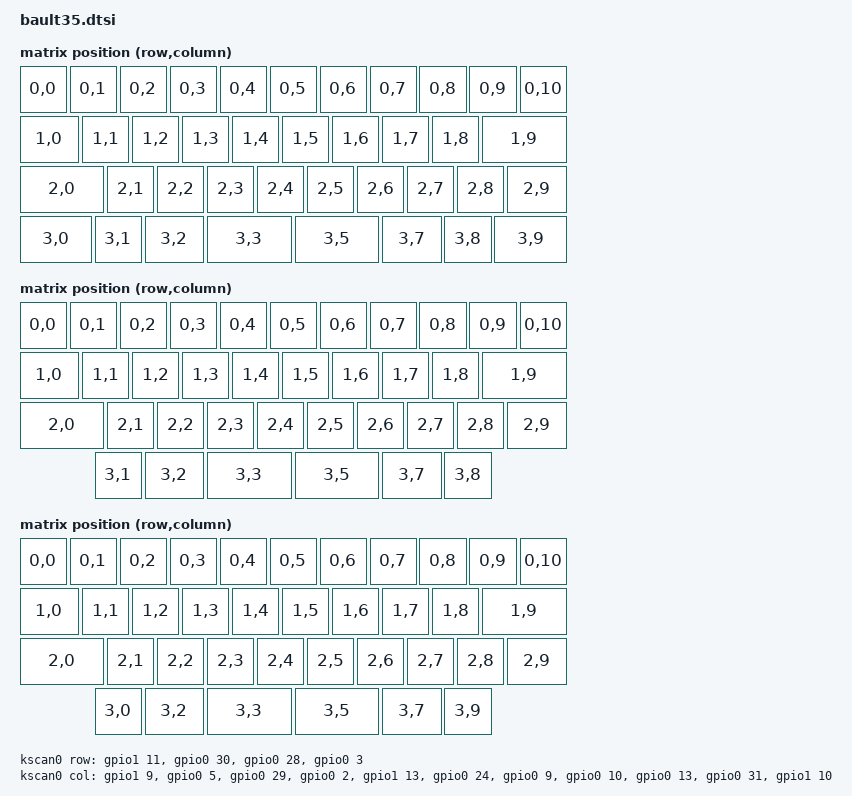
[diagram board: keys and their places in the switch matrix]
#include <dt-bindings/zmk/matrix_transform.h>
#include <physical_layouts.dtsi>

/ {
    chosen {
        zmk,physical-layout = &bault35_physical_layout;
    };
    
    bault35_physical_layout: bault35_physical_layout {
        compatible = "zmk,physical-layout";
        display-name = "Default";
        transform = <&default_transform>;
        kscan = <&kscan0>;
    
             keys  //                     w   h    x    y     rot   rx   ry
            = <&key_physical_attrs 100 100    0    0       0    0    0>
            , <&key_physical_attrs 100 100  100    0       0    0    0>
            , <&key_physical_attrs 100 100  200    0       0    0    0>
            , <&key_physical_attrs 100 100  300    0       0    0    0>
            , <&key_physical_attrs 100 100  400    0       0    0    0>
            , <&key_physical_attrs 100 100  500    0       0    0    0>
            , <&key_physical_attrs 100 100  600    0       0    0    0>
            , <&key_physical_attrs 100 100  700    0       0    0    0>
            , <&key_physical_attrs 100 100  800    0       0    0    0>
            , <&key_physical_attrs 100 100  900    0       0    0    0>
            , <&key_physical_attrs 100 100 1000    0       0    0    0>
            , <&key_physical_attrs 125 100    0  100       0    0    0>
            , <&key_physical_attrs 100 100  125  100       0    0    0>
            , <&key_physical_attrs 100 100  225  100       0    0    0>
            , <&key_physical_attrs 100 100  325  100       0    0    0>
            , <&key_physical_attrs 100 100  425  100       0    0    0>
            , <&key_physical_attrs 100 100  525  100       0    0    0>
            , <&key_physical_attrs 100 100  625  100       0    0    0>
            , <&key_physical_attrs 100 100  725  100       0    0    0>
            , <&key_physical_attrs 100 100  825  100       0    0    0>
            , <&key_physical_attrs 175 100  925  100       0    0    0>
            , <&key_physical_attrs 175 100    0  200       0    0    0>
            , <&key_physical_attrs 100 100  175  200       0    0    0>
            , <&key_physical_attrs 100 100  275  200       0    0    0>
            , <&key_physical_attrs 100 100  375  200       0    0    0>
            , <&key_physical_attrs 100 100  475  200       0    0    0>
            , <&key_physical_attrs 100 100  575  200       0    0    0>
            , <&key_physical_attrs 100 100  675  200       0    0    0>
            , <&key_physical_attrs 100 100  775  200       0    0    0>
            , <&key_physical_attrs 100 100  875  200       0    0    0>
            , <&key_physical_attrs 125 100  975  200       0    0    0>
            , <&key_physical_attrs 150 100    0  300       0    0    0>
            , <&key_physical_attrs 100 100  150  300       0    0    0>
            , <&key_physical_attrs 125 100  250  300       0    0    0>
            , <&key_physical_attrs 175 100  375  300       0    0    0>
            , <&key_physical_attrs 175 100  550  300       0    0    0>
            , <&key_physical_attrs 125 100  725  300       0    0    0>
            , <&key_physical_attrs 100 100  850  300       0    0    0>
            , <&key_physical_attrs 150 100  950  300       0    0    0>
            ;
    };

/*
    default_5key_layout: layout_1 {
        compatible = "zmk,physical-layout";
        display-name = "Default / 5-key split";

        transform = <&default_5key_transform>;

        keys  //                     w   h    x    y     rot   rx   ry
            = <&key_physical_attrs 100 100    0    0       0    0    0>
            , <&key_physical_attrs 100 100  100    0       0    0    0>
            , <&key_physical_attrs 100 100  200    0       0    0    0>
            , <&key_physical_attrs 100 100  300    0       0    0    0>
            , <&key_physical_attrs 100 100  400    0       0    0    0>
            , <&key_physical_attrs 100 100  500    0       0    0    0>
            , <&key_physical_attrs 100 100  600    0       0    0    0>
            , <&key_physical_attrs 100 100  700    0       0    0    0>
            , <&key_physical_attrs 100 100  800    0       0    0    0>
            , <&key_physical_attrs 100 100  900    0       0    0    0>
            , <&key_physical_attrs 100 100 1000    0       0    0    0>
            , <&key_physical_attrs 125 100    0  100       0    0    0>
            , <&key_physical_attrs 100 100  125  100       0    0    0>
            , <&key_physical_attrs 100 100  225  100       0    0    0>
            , <&key_physical_attrs 100 100  325  100       0    0    0>
            , <&key_physical_attrs 100 100  425  100       0    0    0>
            , <&key_physical_attrs 100 100  525  100       0    0    0>
            , <&key_physical_attrs 100 100  625  100       0    0    0>
            , <&key_physical_attrs 100 100  725  100       0    0    0>
            , <&key_physical_attrs 100 100  825  100       0    0    0>
            , <&key_physical_attrs 175 100  925  100       0    0    0>
            , <&key_physical_attrs 175 100    0  200       0    0    0>
            , <&key_physical_attrs 100 100  175  200       0    0    0>
            , <&key_physical_attrs 100 100  275  200       0    0    0>
            , <&key_physical_attrs 100 100  375  200       0    0    0>
            , <&key_physical_attrs 100 100  475  200       0    0    0>
            , <&key_physical_attrs 100 100  575  200       0    0    0>
            , <&key_physical_attrs 100 100  675  200       0    0    0>
            , <&key_physical_attrs 100 100  775  200       0    0    0>
            , <&key_physical_attrs 100 100  875  200       0    0    0>
            , <&key_physical_attrs 125 100  975  200       0    0    0>
            , <&key_physical_attrs 150 100    0  300       0    0    0>
            , <&key_physical_attrs 125 100  150  300       0    0    0>
            , <&key_physical_attrs 125 100  275  300       0    0    0>
            , <&key_physical_attrs 300 100  400  300       0    0    0>
            , <&key_physical_attrs 125 100  700  300       0    0    0>
            , <&key_physical_attrs 125 100  825  300       0    0    0>
            , <&key_physical_attrs 150 100  950  300       0    0    0>
            ;
    };

    default_4key_layout: layout_2 {
        compatible = "zmk,physical-layout";
        display-name = "Default / 4-key split";

        transform = <&default_4key_transform>;


        keys  //                     w   h    x    y     rot   rx   ry
            = <&key_physical_attrs 100 100    0    0       0    0    0>
            , <&key_physical_attrs 100 100  100    0       0    0    0>
            , <&key_physical_attrs 100 100  200    0       0    0    0>
            , <&key_physical_attrs 100 100  300    0       0    0    0>
            , <&key_physical_attrs 100 100  400    0       0    0    0>
            , <&key_physical_attrs 100 100  500    0       0    0    0>
            , <&key_physical_attrs 100 100  600    0       0    0    0>
            , <&key_physical_attrs 100 100  700    0       0    0    0>
            , <&key_physical_attrs 100 100  800    0       0    0    0>
            , <&key_physical_attrs 100 100  900    0       0    0    0>
            , <&key_physical_attrs 100 100 1000    0       0    0    0>
            , <&key_physical_attrs 125 100    0  100       0    0    0>
            , <&key_physical_attrs 100 100  125  100       0    0    0>
            , <&key_physical_attrs 100 100  225  100       0    0    0>
            , <&key_physical_attrs 100 100  325  100       0    0    0>
            , <&key_physical_attrs 100 100  425  100       0    0    0>
            , <&key_physical_attrs 100 100  525  100       0    0    0>
            , <&key_physical_attrs 100 100  625  100       0    0    0>
            , <&key_physical_attrs 100 100  725  100       0    0    0>
            , <&key_physical_attrs 100 100  825  100       0    0    0>
            , <&key_physical_attrs 175 100  925  100       0    0    0>
            , <&key_physical_attrs 175 100    0  200       0    0    0>
            , <&key_physical_attrs 100 100  175  200       0    0    0>
            , <&key_physical_attrs 100 100  275  200       0    0    0>
            , <&key_physical_attrs 100 100  375  200       0    0    0>
            , <&key_physical_attrs 100 100  475  200       0    0    0>
            , <&key_physical_attrs 100 100  575  200       0    0    0>
            , <&key_physical_attrs 100 100  675  200       0    0    0>
            , <&key_physical_attrs 100 100  775  200       0    0    0>
            , <&key_physical_attrs 100 100  875  200       0    0    0>
            , <&key_physical_attrs 125 100  975  200       0    0    0>
            , <&key_physical_attrs 150 100    0  300       0    0    0>
            , <&key_physical_attrs 100 100  150  300       0    0    0>
            , <&key_physical_attrs 300 100  250  300       0    0    0>
            , <&key_physical_attrs 300 100  550  300       0    0    0>
            , <&key_physical_attrs 100 100  850  300       0    0    0>
            , <&key_physical_attrs 150 100  950  300       0    0    0>
            ;
    };

    default_bigbar_layout: layout_3 {
        compatible = "zmk,physical-layout";
        display-name = "Default / Big Bar";

        transform = <&default_bigbar_transform>;

        keys  //                     w   h    x    y     rot   rx   ry
            = <&key_physical_attrs 100 100    0    0       0    0    0>
            , <&key_physical_attrs 100 100  100    0       0    0    0>
            , <&key_physical_attrs 100 100  200    0       0    0    0>
            , <&key_physical_attrs 100 100  300    0       0    0    0>
            , <&key_physical_attrs 100 100  400    0       0    0    0>
            , <&key_physical_attrs 100 100  500    0       0    0    0>
            , <&key_physical_attrs 100 100  600    0       0    0    0>
            , <&key_physical_attrs 100 100  700    0       0    0    0>
            , <&key_physical_attrs 100 100  800    0       0    0    0>
            , <&key_physical_attrs 100 100  900    0       0    0    0>
            , <&key_physical_attrs 100 100 1000    0       0    0    0>
            , <&key_physical_attrs 125 100    0  100       0    0    0>
            , <&key_physical_attrs 100 100  125  100       0    0    0>
            , <&key_physical_attrs 100 100  225  100       0    0    0>
            , <&key_physical_attrs 100 100  325  100       0    0    0>
            , <&key_physical_attrs 100 100  425  100       0    0    0>
            , <&key_physical_attrs 100 100  525  100       0    0    0>
            , <&key_physical_attrs 100 100  625  100       0    0    0>
            , <&key_physical_attrs 100 100  725  100       0    0    0>
            , <&key_physical_attrs 100 100  825  100       0    0    0>
            , <&key_physical_attrs 175 100  925  100       0    0    0>
            , <&key_physical_attrs 175 100    0  200       0    0    0>
            , <&key_physical_attrs 100 100  175  200       0    0    0>
            , <&key_physical_attrs 100 100  275  200       0    0    0>
            , <&key_physical_attrs 100 100  375  200       0    0    0>
            , <&key_physical_attrs 100 100  475  200       0    0    0>
            , <&key_physical_attrs 100 100  575  200       0    0    0>
            , <&key_physical_attrs 100 100  675  200       0    0    0>
            , <&key_physical_attrs 100 100  775  200       0    0    0>
            , <&key_physical_attrs 100 100  875  200       0    0    0>
            , <&key_physical_attrs 125 100  975  200       0    0    0>
            , <&key_physical_attrs 150 100    0  300       0    0    0>
            , <&key_physical_attrs 100 100  150  300       0    0    0>
            , <&key_physical_attrs 600 100  250  300       0    0    0>
            , <&key_physical_attrs 100 100  850  300       0    0    0>
            , <&key_physical_attrs 150 100  950  300       0    0    0>
            ;
    };
*/

    hhkb_layout: layout_4 {
        compatible = "zmk,physical-layout";
        display-name = "HHKB";

        transform = <&hhkb_transform>;

        keys  //                     w   h    x    y     rot   rx   ry
            = <&key_physical_attrs 100 100    0    0       0    0    0>
            , <&key_physical_attrs 100 100  100    0       0    0    0>
            , <&key_physical_attrs 100 100  200    0       0    0    0>
            , <&key_physical_attrs 100 100  300    0       0    0    0>
            , <&key_physical_attrs 100 100  400    0       0    0    0>
            , <&key_physical_attrs 100 100  500    0       0    0    0>
            , <&key_physical_attrs 100 100  600    0       0    0    0>
            , <&key_physical_attrs 100 100  700    0       0    0    0>
            , <&key_physical_attrs 100 100  800    0       0    0    0>
            , <&key_physical_attrs 100 100  900    0       0    0    0>
            , <&key_physical_attrs 100 100 1000    0       0    0    0>
            , <&key_physical_attrs 125 100    0  100       0    0    0>
            , <&key_physical_attrs 100 100  125  100       0    0    0>
            , <&key_physical_attrs 100 100  225  100       0    0    0>
            , <&key_physical_attrs 100 100  325  100       0    0    0>
            , <&key_physical_attrs 100 100  425  100       0    0    0>
            , <&key_physical_attrs 100 100  525  100       0    0    0>
            , <&key_physical_attrs 100 100  625  100       0    0    0>
            , <&key_physical_attrs 100 100  725  100       0    0    0>
            , <&key_physical_attrs 100 100  825  100       0    0    0>
            , <&key_physical_attrs 175 100  925  100       0    0    0>
            , <&key_physical_attrs 175 100    0  200       0    0    0>
            , <&key_physical_attrs 100 100  175  200       0    0    0>
            , <&key_physical_attrs 100 100  275  200       0    0    0>
            , <&key_physical_attrs 100 100  375  200       0    0    0>
            , <&key_physical_attrs 100 100  475  200       0    0    0>
            , <&key_physical_attrs 100 100  575  200       0    0    0>
            , <&key_physical_attrs 100 100  675  200       0    0    0>
            , <&key_physical_attrs 100 100  775  200       0    0    0>
            , <&key_physical_attrs 100 100  875  200       0    0    0>
            , <&key_physical_attrs 125 100  975  200       0    0    0>
            , <&key_physical_attrs 100 100  150  300       0    0    0>
            , <&key_physical_attrs 125 100  250  300       0    0    0>
            , <&key_physical_attrs 175 100  375  300       0    0    0>
            , <&key_physical_attrs 175 100  550  300       0    0    0>
            , <&key_physical_attrs 125 100  725  300       0    0    0>
            , <&key_physical_attrs 100 100  850  300       0    0    0>
            ;
    };

/*
    hhkb_5key_layout: layout_5 {
        compatible = "zmk,physical-layout";
        display-name = "HHKB / 5-key split";

        transform = <&hhkb_5key_transform>;

        keys  //                     w   h    x    y     rot   rx   ry
            = <&key_physical_attrs 100 100    0    0       0    0    0>
            , <&key_physical_attrs 100 100  100    0       0    0    0>
            , <&key_physical_attrs 100 100  200    0       0    0    0>
            , <&key_physical_attrs 100 100  300    0       0    0    0>
            , <&key_physical_attrs 100 100  400    0       0    0    0>
            , <&key_physical_attrs 100 100  500    0       0    0    0>
            , <&key_physical_attrs 100 100  600    0       0    0    0>
            , <&key_physical_attrs 100 100  700    0       0    0    0>
            , <&key_physical_attrs 100 100  800    0       0    0    0>
            , <&key_physical_attrs 100 100  900    0       0    0    0>
            , <&key_physical_attrs 100 100 1000    0       0    0    0>
            , <&key_physical_attrs 125 100    0  100       0    0    0>
            , <&key_physical_attrs 100 100  125  100       0    0    0>
            , <&key_physical_attrs 100 100  225  100       0    0    0>
            , <&key_physical_attrs 100 100  325  100       0    0    0>
            , <&key_physical_attrs 100 100  425  100       0    0    0>
            , <&key_physical_attrs 100 100  525  100       0    0    0>
            , <&key_physical_attrs 100 100  625  100       0    0    0>
            , <&key_physical_attrs 100 100  725  100       0    0    0>
            , <&key_physical_attrs 100 100  825  100       0    0    0>
            , <&key_physical_attrs 175 100  925  100       0    0    0>
            , <&key_physical_attrs 175 100    0  200       0    0    0>
            , <&key_physical_attrs 100 100  175  200       0    0    0>
            , <&key_physical_attrs 100 100  275  200       0    0    0>
            , <&key_physical_attrs 100 100  375  200       0    0    0>
            , <&key_physical_attrs 100 100  475  200       0    0    0>
            , <&key_physical_attrs 100 100  575  200       0    0    0>
            , <&key_physical_attrs 100 100  675  200       0    0    0>
            , <&key_physical_attrs 100 100  775  200       0    0    0>
            , <&key_physical_attrs 100 100  875  200       0    0    0>
            , <&key_physical_attrs 125 100  975  200       0    0    0>
            , <&key_physical_attrs 125 100  150  300       0    0    0>
            , <&key_physical_attrs 125 100  275  300       0    0    0>
            , <&key_physical_attrs 300 100  400  300       0    0    0>
            , <&key_physical_attrs 125 100  700  300       0    0    0>
            , <&key_physical_attrs 125 100  825  300       0    0    0>
            ;
    };

    hhkb_4key_layout: layout_6 {
        compatible = "zmk,physical-layout";
        display-name = "HHKB / 4-key split";

        transform = <&hhkb_4key_transform>;

        keys  //                     w   h    x    y     rot   rx   ry
            = <&key_physical_attrs 100 100    0    0       0    0    0>
            , <&key_physical_attrs 100 100  100    0       0    0    0>
            , <&key_physical_attrs 100 100  200    0       0    0    0>
            , <&key_physical_attrs 100 100  300    0       0    0    0>
            , <&key_physical_attrs 100 100  400    0       0    0    0>
            , <&key_physical_attrs 100 100  500    0       0    0    0>
            , <&key_physical_attrs 100 100  600    0       0    0    0>
            , <&key_physical_attrs 100 100  700    0       0    0    0>
            , <&key_physical_attrs 100 100  800    0       0    0    0>
            , <&key_physical_attrs 100 100  900    0       0    0    0>
            , <&key_physical_attrs 100 100 1000    0       0    0    0>
            , <&key_physical_attrs 125 100    0  100       0    0    0>
            , <&key_physical_attrs 100 100  125  100       0    0    0>
            , <&key_physical_attrs 100 100  225  100       0    0    0>
            , <&key_physical_attrs 100 100  325  100       0    0    0>
            , <&key_physical_attrs 100 100  425  100       0    0    0>
            , <&key_physical_attrs 100 100  525  100       0    0    0>
            , <&key_physical_attrs 100 100  625  100       0    0    0>
            , <&key_physical_attrs 100 100  725  100       0    0    0>
            , <&key_physical_attrs 100 100  825  100       0    0    0>
            , <&key_physical_attrs 175 100  925  100       0    0    0>
            , <&key_physical_attrs 175 100    0  200       0    0    0>
            , <&key_physical_attrs 100 100  175  200       0    0    0>
            , <&key_physical_attrs 100 100  275  200       0    0    0>
            , <&key_physical_attrs 100 100  375  200       0    0    0>
            , <&key_physical_attrs 100 100  475  200       0    0    0>
            , <&key_physical_attrs 100 100  575  200       0    0    0>
            , <&key_physical_attrs 100 100  675  200       0    0    0>
            , <&key_physical_attrs 100 100  775  200       0    0    0>
            , <&key_physical_attrs 100 100  875  200       0    0    0>
            , <&key_physical_attrs 125 100  975  200       0    0    0>
            , <&key_physical_attrs 100 100  150  300       0    0    0>
            , <&key_physical_attrs 300 100  250  300       0    0    0>
            , <&key_physical_attrs 300 100  550  300       0    0    0>
            , <&key_physical_attrs 100 100  850  300       0    0    0>
            ;
    };

    hhkb_bigbar_layout: layout_7 {
        compatible = "zmk,physical-layout";
        display-name = "HHKB / Big Bar";

        transform = <&hhkb_bigbar_transform>;

        keys  //                     w   h    x    y     rot   rx   ry
            = <&key_physical_attrs 100 100    0    0       0    0    0>
            , <&key_physical_attrs 100 100  100    0       0    0    0>
            , <&key_physical_attrs 100 100  200    0       0    0    0>
            , <&key_physical_attrs 100 100  300    0       0    0    0>
            , <&key_physical_attrs 100 100  400    0       0    0    0>
            , <&key_physical_attrs 100 100  500    0       0    0    0>
            , <&key_physical_attrs 100 100  600    0       0    0    0>
            , <&key_physical_attrs 100 100  700    0       0    0    0>
            , <&key_physical_attrs 100 100  800    0       0    0    0>
            , <&key_physical_attrs 100 100  900    0       0    0    0>
            , <&key_physical_attrs 100 100 1000    0       0    0    0>
            , <&key_physical_attrs 125 100    0  100       0    0    0>
            , <&key_physical_attrs 100 100  125  100       0    0    0>
            , <&key_physical_attrs 100 100  225  100       0    0    0>
            , <&key_physical_attrs 100 100  325  100       0    0    0>
            , <&key_physical_attrs 100 100  425  100       0    0    0>
            , <&key_physical_attrs 100 100  525  100       0    0    0>
            , <&key_physical_attrs 100 100  625  100       0    0    0>
            , <&key_physical_attrs 100 100  725  100       0    0    0>
            , <&key_physical_attrs 100 100  825  100       0    0    0>
            , <&key_physical_attrs 175 100  925  100       0    0    0>
            , <&key_physical_attrs 175 100    0  200       0    0    0>
            , <&key_physical_attrs 100 100  175  200       0    0    0>
            , <&key_physical_attrs 100 100  275  200       0    0    0>
            , <&key_physical_attrs 100 100  375  200       0    0    0>
            , <&key_physical_attrs 100 100  475  200       0    0    0>
            , <&key_physical_attrs 100 100  575  200       0    0    0>
            , <&key_physical_attrs 100 100  675  200       0    0    0>
            , <&key_physical_attrs 100 100  775  200       0    0    0>
            , <&key_physical_attrs 100 100  875  200       0    0    0>
            , <&key_physical_attrs 125 100  975  200       0    0    0>
            , <&key_physical_attrs 100 100  150  300       0    0    0>
            , <&key_physical_attrs 600 100  250  300       0    0    0>
            , <&key_physical_attrs 100 100  850  300       0    0    0>
            ;
    };
*/

    wkl_layout: layout_8 {
        compatible = "zmk,physical-layout";
        display-name = "WKL";

        transform = <&wkl_transform>;

        keys  //                     w   h    x    y     rot   rx   ry
            = <&key_physical_attrs 100 100    0    0       0    0    0>
            , <&key_physical_attrs 100 100  100    0       0    0    0>
            , <&key_physical_attrs 100 100  200    0       0    0    0>
            , <&key_physical_attrs 100 100  300    0       0    0    0>
            , <&key_physical_attrs 100 100  400    0       0    0    0>
            , <&key_physical_attrs 100 100  500    0       0    0    0>
            , <&key_physical_attrs 100 100  600    0       0    0    0>
            , <&key_physical_attrs 100 100  700    0       0    0    0>
            , <&key_physical_attrs 100 100  800    0       0    0    0>
            , <&key_physical_attrs 100 100  900    0       0    0    0>
            , <&key_physical_attrs 100 100 1000    0       0    0    0>
            , <&key_physical_attrs 125 100    0  100       0    0    0>
            , <&key_physical_attrs 100 100  125  100       0    0    0>
            , <&key_physical_attrs 100 100  225  100       0    0    0>
            , <&key_physical_attrs 100 100  325  100       0    0    0>
            , <&key_physical_attrs 100 100  425  100       0    0    0>
            , <&key_physical_attrs 100 100  525  100       0    0    0>
            , <&key_physical_attrs 100 100  625  100       0    0    0>
            , <&key_physical_attrs 100 100  725  100       0    0    0>
            , <&key_physical_attrs 100 100  825  100       0    0    0>
            , <&key_physical_attrs 175 100  925  100       0    0    0>
            , <&key_physical_attrs 175 100    0  200       0    0    0>
            , <&key_physical_attrs 100 100  175  200       0    0    0>
            , <&key_physical_attrs 100 100  275  200       0    0    0>
            , <&key_physical_attrs 100 100  375  200       0    0    0>
            , <&key_physical_attrs 100 100  475  200       0    0    0>
            , <&key_physical_attrs 100 100  575  200       0    0    0>
            , <&key_physical_attrs 100 100  675  200       0    0    0>
            , <&key_physical_attrs 100 100  775  200       0    0    0>
            , <&key_physical_attrs 100 100  875  200       0    0    0>
            , <&key_physical_attrs 125 100  975  200       0    0    0>
            , <&key_physical_attrs 150 100    0  300       0    0    0>
            , <&key_physical_attrs 125 100  250  300       0    0    0>
            , <&key_physical_attrs 175 100  375  300       0    0    0>
            , <&key_physical_attrs 175 100  550  300       0    0    0>
            , <&key_physical_attrs 125 100  725  300       0    0    0>
            , <&key_physical_attrs 150 100  950  300       0    0    0>
            ;
    };

/*
    wkl_3key_layout: layout_9 {
        compatible = "zmk,physical-layout";
        display-name = "WKL / 3-key split";

        transform = <&wkl_3key_transform>;

        keys  //                     w   h    x    y     rot   rx   ry
            = <&key_physical_attrs 100 100    0    0       0    0    0>
            , <&key_physical_attrs 100 100  100    0       0    0    0>
            , <&key_physical_attrs 100 100  200    0       0    0    0>
            , <&key_physical_attrs 100 100  300    0       0    0    0>
            , <&key_physical_attrs 100 100  400    0       0    0    0>
            , <&key_physical_attrs 100 100  500    0       0    0    0>
            , <&key_physical_attrs 100 100  600    0       0    0    0>
            , <&key_physical_attrs 100 100  700    0       0    0    0>
            , <&key_physical_attrs 100 100  800    0       0    0    0>
            , <&key_physical_attrs 100 100  900    0       0    0    0>
            , <&key_physical_attrs 100 100 1000    0       0    0    0>
            , <&key_physical_attrs 125 100    0  100       0    0    0>
            , <&key_physical_attrs 100 100  125  100       0    0    0>
            , <&key_physical_attrs 100 100  225  100       0    0    0>
            , <&key_physical_attrs 100 100  325  100       0    0    0>
            , <&key_physical_attrs 100 100  425  100       0    0    0>
            , <&key_physical_attrs 100 100  525  100       0    0    0>
            , <&key_physical_attrs 100 100  625  100       0    0    0>
            , <&key_physical_attrs 100 100  725  100       0    0    0>
            , <&key_physical_attrs 100 100  825  100       0    0    0>
            , <&key_physical_attrs 175 100  925  100       0    0    0>
            , <&key_physical_attrs 175 100    0  200       0    0    0>
            , <&key_physical_attrs 100 100  175  200       0    0    0>
            , <&key_physical_attrs 100 100  275  200       0    0    0>
            , <&key_physical_attrs 100 100  375  200       0    0    0>
            , <&key_physical_attrs 100 100  475  200       0    0    0>
            , <&key_physical_attrs 100 100  575  200       0    0    0>
            , <&key_physical_attrs 100 100  675  200       0    0    0>
            , <&key_physical_attrs 100 100  775  200       0    0    0>
            , <&key_physical_attrs 100 100  875  200       0    0    0>
            , <&key_physical_attrs 125 100  975  200       0    0    0>
            , <&key_physical_attrs 150 100    0  300       0    0    0>
            , <&key_physical_attrs 150 100  250  300       0    0    0>
            , <&key_physical_attrs 300 100  400  300       0    0    0>
            , <&key_physical_attrs 150 100  700  300       0    0    0>
            , <&key_physical_attrs 150 100  950  300       0    0    0>
            ;
    };

    wkl_2key_layout: layout_10 {
        compatible = "zmk,physical-layout";
        display-name = "WKL / 2-key split";

        transform = <&wkl_2key_transform>;

        keys  //                     w   h    x    y     rot   rx   ry
            = <&key_physical_attrs 100 100    0    0       0    0    0>
            , <&key_physical_attrs 100 100  100    0       0    0    0>
            , <&key_physical_attrs 100 100  200    0       0    0    0>
            , <&key_physical_attrs 100 100  300    0       0    0    0>
            , <&key_physical_attrs 100 100  400    0       0    0    0>
            , <&key_physical_attrs 100 100  500    0       0    0    0>
            , <&key_physical_attrs 100 100  600    0       0    0    0>
            , <&key_physical_attrs 100 100  700    0       0    0    0>
            , <&key_physical_attrs 100 100  800    0       0    0    0>
            , <&key_physical_attrs 100 100  900    0       0    0    0>
            , <&key_physical_attrs 100 100 1000    0       0    0    0>
            , <&key_physical_attrs 125 100    0  100       0    0    0>
            , <&key_physical_attrs 100 100  125  100       0    0    0>
            , <&key_physical_attrs 100 100  225  100       0    0    0>
            , <&key_physical_attrs 100 100  325  100       0    0    0>
            , <&key_physical_attrs 100 100  425  100       0    0    0>
            , <&key_physical_attrs 100 100  525  100       0    0    0>
            , <&key_physical_attrs 100 100  625  100       0    0    0>
            , <&key_physical_attrs 100 100  725  100       0    0    0>
            , <&key_physical_attrs 100 100  825  100       0    0    0>
            , <&key_physical_attrs 175 100  925  100       0    0    0>
            , <&key_physical_attrs 175 100    0  200       0    0    0>
            , <&key_physical_attrs 100 100  175  200       0    0    0>
            , <&key_physical_attrs 100 100  275  200       0    0    0>
            , <&key_physical_attrs 100 100  375  200       0    0    0>
            , <&key_physical_attrs 100 100  475  200       0    0    0>
            , <&key_physical_attrs 100 100  575  200       0    0    0>
            , <&key_physical_attrs 100 100  675  200       0    0    0>
            , <&key_physical_attrs 100 100  775  200       0    0    0>
            , <&key_physical_attrs 100 100  875  200       0    0    0>
            , <&key_physical_attrs 125 100  975  200       0    0    0>
            , <&key_physical_attrs 150 100    0  300       0    0    0>
            , <&key_physical_attrs 300 100  250  300       0    0    0>
            , <&key_physical_attrs 300 100  550  300       0    0    0>
            , <&key_physical_attrs 150 100  950  300       0    0    0>
            ;
    };

    wkl_bigbar_layout: layout_11 {
        compatible = "zmk,physical-layout";
        display-name = "WKL / Big Bar";

        transform = <&wkl_bigbar_transform>;

        keys  //                     w   h    x    y     rot   rx   ry
            = <&key_physical_attrs 100 100    0    0       0    0    0>
            , <&key_physical_attrs 100 100  100    0       0    0    0>
            , <&key_physical_attrs 100 100  200    0       0    0    0>
            , <&key_physical_attrs 100 100  300    0       0    0    0>
            , <&key_physical_attrs 100 100  400    0       0    0    0>
            , <&key_physical_attrs 100 100  500    0       0    0    0>
            , <&key_physical_attrs 100 100  600    0       0    0    0>
            , <&key_physical_attrs 100 100  700    0       0    0    0>
            , <&key_physical_attrs 100 100  800    0       0    0    0>
            , <&key_physical_attrs 100 100  900    0       0    0    0>
            , <&key_physical_attrs 100 100 1000    0       0    0    0>
            , <&key_physical_attrs 125 100    0  100       0    0    0>
            , <&key_physical_attrs 100 100  125  100       0    0    0>
            , <&key_physical_attrs 100 100  225  100       0    0    0>
            , <&key_physical_attrs 100 100  325  100       0    0    0>
            , <&key_physical_attrs 100 100  425  100       0    0    0>
            , <&key_physical_attrs 100 100  525  100       0    0    0>
            , <&key_physical_attrs 100 100  625  100       0    0    0>
            , <&key_physical_attrs 100 100  725  100       0    0    0>
            , <&key_physical_attrs 100 100  825  100       0    0    0>
            , <&key_physical_attrs 175 100  925  100       0    0    0>
            , <&key_physical_attrs 175 100    0  200       0    0    0>
            , <&key_physical_attrs 100 100  175  200       0    0    0>
            , <&key_physical_attrs 100 100  275  200       0    0    0>
            , <&key_physical_attrs 100 100  375  200       0    0    0>
            , <&key_physical_attrs 100 100  475  200       0    0    0>
            , <&key_physical_attrs 100 100  575  200       0    0    0>
            , <&key_physical_attrs 100 100  675  200       0    0    0>
            , <&key_physical_attrs 100 100  775  200       0    0    0>
            , <&key_physical_attrs 100 100  875  200       0    0    0>
            , <&key_physical_attrs 125 100  975  200       0    0    0>
            , <&key_physical_attrs 150 100    0  300       0    0    0>
            , <&key_physical_attrs 600 100  250  300       0    0    0>
            , <&key_physical_attrs 150 100  950  300       0    0    0>
            ;
    };
*/
};

/ {
    default_transform: keymap_transform_0 {
        compatible = "zmk,matrix-transform";
        columns = <11>;
        rows = <4>;
        map = <
            RC(0,0) RC(0,1) RC(0,2) RC(0,3) RC(0,4) RC(0,5) RC(0,6) RC(0,7) RC(0,8) RC(0,9) RC(0,10)
            RC(1,0) RC(1,1) RC(1,2) RC(1,3) RC(1,4) RC(1,5) RC(1,6) RC(1,7) RC(1,8) RC(1,9)
            RC(2,0) RC(2,1) RC(2,2) RC(2,3) RC(2,4) RC(2,5) RC(2,6) RC(2,7) RC(2,8) RC(2,9)
            RC(3,0) RC(3,1) RC(3,2) RC(3,3)         RC(3,5)         RC(3,7) RC(3,8) RC(3,9)
            >;
    };

    hhkb_transform: keymap_transform_4 {
        compatible = "zmk,matrix-transform";
        columns = <11>;
        rows = <4>;
        map = <
            RC(0,0) RC(0,1) RC(0,2) RC(0,3) RC(0,4) RC(0,5) RC(0,6) RC(0,7) RC(0,8) RC(0,9) RC(0,10)
            RC(1,0) RC(1,1) RC(1,2) RC(1,3) RC(1,4) RC(1,5) RC(1,6) RC(1,7) RC(1,8) RC(1,9)
            RC(2,0) RC(2,1) RC(2,2) RC(2,3) RC(2,4) RC(2,5) RC(2,6) RC(2,7) RC(2,8) RC(2,9)
                    RC(3,1) RC(3,2) RC(3,3)         RC(3,5)         RC(3,7) RC(3,8)
            >;
    };

    wkl_transform: keymap_transform_8 {
        compatible = "zmk,matrix-transform";
        columns = <11>;
        rows = <4>;
        map = <
            RC(0,0) RC(0,1) RC(0,2) RC(0,3) RC(0,4) RC(0,5) RC(0,6) RC(0,7) RC(0,8) RC(0,9) RC(0,10)
            RC(1,0) RC(1,1) RC(1,2) RC(1,3) RC(1,4) RC(1,5) RC(1,6) RC(1,7) RC(1,8) RC(1,9)
            RC(2,0) RC(2,1) RC(2,2) RC(2,3) RC(2,4) RC(2,5) RC(2,6) RC(2,7) RC(2,8) RC(2,9)
            RC(3,0)         RC(3,2) RC(3,3)         RC(3,5)         RC(3,7)         RC(3,9)
            >;
    };
};
    kscan0: kscan {
        compatible = "zmk,kscan-gpio-matrix";
        diode-direction = "col2row";
        wakeup-source;

        row-gpios
            = <&gpio1 11 (GPIO_ACTIVE_HIGH | GPIO_PULL_DOWN)>
            , <&gpio0 30 (GPIO_ACTIVE_HIGH | GPIO_PULL_DOWN)>
            , <&gpio0 28 (GPIO_ACTIVE_HIGH | GPIO_PULL_DOWN)>
            , <&gpio0  3 (GPIO_ACTIVE_HIGH | GPIO_PULL_DOWN)>
            ;
        col-gpios
            = <&gpio1  9 GPIO_ACTIVE_HIGH>
            , <&gpio0  5 GPIO_ACTIVE_HIGH>
            , <&gpio0 29 GPIO_ACTIVE_HIGH>
            , <&gpio0  2 GPIO_ACTIVE_HIGH>
            , <&gpio1 13 GPIO_ACTIVE_HIGH>
            , <&gpio0 24 GPIO_ACTIVE_HIGH>
            , <&gpio0  9 GPIO_ACTIVE_HIGH>
            , <&gpio0 10 GPIO_ACTIVE_HIGH>
            , <&gpio0 13 GPIO_ACTIVE_HIGH>
            , <&gpio0 31 GPIO_ACTIVE_HIGH>
            , <&gpio1 10 GPIO_ACTIVE_HIGH>
            ;
    };

